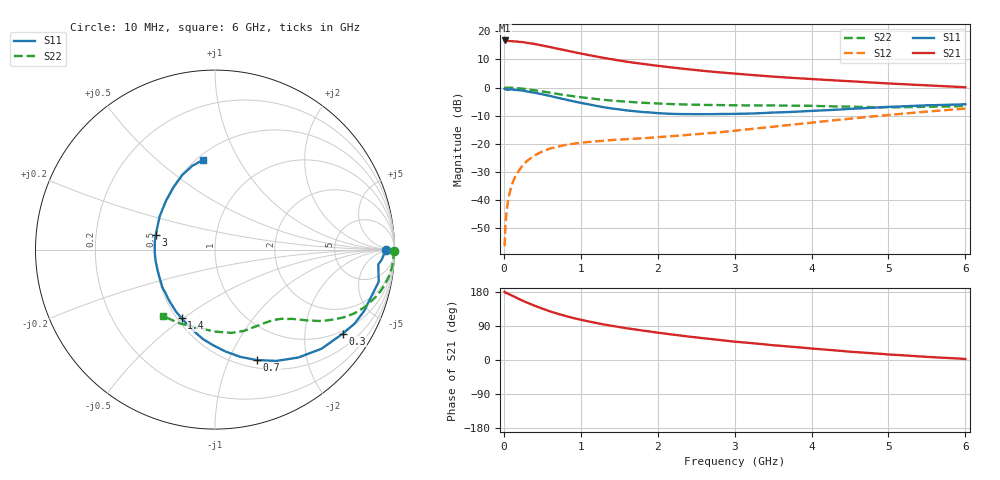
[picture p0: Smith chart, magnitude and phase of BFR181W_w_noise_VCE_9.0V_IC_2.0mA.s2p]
! Infineon Technologies  Discrete & RF Semiconductors
! BFR181W
! VCE =  9.0 V,  IC =  2.0 mA
! Common Emitter S-Parameters:  Jan 2017
# GHz  S  MA  R  50
!  f  S11  S21  S12  S22
! GHz  MAG  ANG  MAG  ANG  MAG  ANG  MAG  ANG
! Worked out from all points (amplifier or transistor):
!   77 points, 10 MHz to 6 GHz, reference 50 ohm
!   highest |S21| = 16.8 dB at 10 MHz (marker M1)
!   |S21| within 3 dB of that: start of sweep to 708.7 MHz
!   unconditionally stable (mu >= 1): 1.901 GHz to 3.956 GHz
!   at 130 MHz: K = 0.07, MSG = 24.6 dB, |S12| = -32.8 dB
!   at 2.2 GHz: K = 1.07, MAG = 10.6 dB, |S12| = -17.3 dB
!   at 6 GHz: K = 0.84, MSG = 3.8 dB, |S12| = -7.5 dB
!   lowest NFmin = 0.84 dB at 450 MHz
!   S11 on the Smith chart (normalised r, x): 10 MHz: 39, -4; 300 MHz: 0.91, -3.10; 700 MHz: 0.59, -1.27; 1.4 GHz: 0.53, -0.49; 3 GHz: 0.50, +0.09; 6 GHz: 0.54, +0.72
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0.01  0.9507 -0.3  6.899 179.8  0.0015 84.0  1 -0.6
0.02  0.9299 -3.5  6.81 177.9  0.0033 91.4  0.9913 -0.9
0.04  0.9189 -4.6  6.781 176.2  0.0069 84.9  0.9946 -2.2
0.09  0.9255 -9.9  6.714 171.4  0.0158 84.3  0.9915 -5.2
0.15  0.908 -17.2  6.633 165.7  0.0265 80.8  0.9811 -8.6
0.2  0.8987 -22.3  6.522 160.6  0.0338 77.0  0.9677 -11.3
0.3  0.8524 -33.3  6.272 151.5  0.0491 70.3  0.9336 -16.4
0.4  0.8111 -42.9  5.973 143.2  0.0619 65.3  0.8947 -20.9
0.5  0.7598 -52.3  5.607 135.6  0.0727 60.6  0.8525 -24.7
0.6  0.709 -61.0  5.265 128.5  0.0822 56.6  0.8099 -27.8
0.7  0.658 -69.3  4.911 122.0  0.0885 53.6  0.77 -30.3
0.9  0.5709 -84.1  4.307 110.9  0.0997 49.0  0.702 -34.5
1.1  0.5033 -97.6  3.797 101.9  0.1074 46.5  0.6486 -37.5
1.4  0.4252 -115.9  3.196 90.3  0.1163 44.7  0.5877 -41.2
1.8  0.3672 -138.8  2.648 77.7  0.125 45.7  0.5367 -45.9
2.1  0.3441 -154.7  2.352 69.6  0.1339 47.4  0.5137 -49.6
2.4  0.337 -169.6  2.116 61.9  0.1439 49.6  0.4983 -54.0
3  0.3405 165.9  1.775 48.4  0.1703 53.6  0.4837 -62.6
3.1  0.3419 162.4  1.73 46.7  0.1763 54.1  0.4825 -64.1
4.1  0.3898 132.9  1.392 28.7  0.2452 55.5  0.4687 -80.8
5.1  0.4585 112.0  1.165 13.4  0.3343 50.8  0.4465 -104.8
6  0.5041 97.6  1.013 2.7  0.4219 43.0  0.4707 -128.3
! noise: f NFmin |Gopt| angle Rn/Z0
0.45  0.84  0.56  18  0.32
0.9  0.9  0.51  33  0.3
1.9  1.35  0.31  81  0.23
2.4  1.58  0.27  95  0.25
